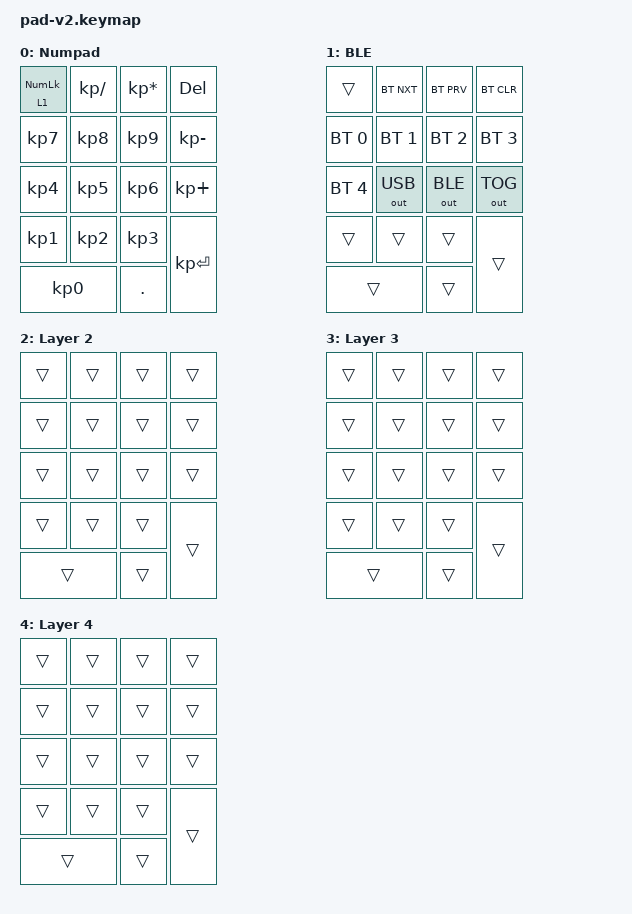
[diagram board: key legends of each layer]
#include <behaviors.dtsi>
#include <dt-bindings/zmk/keys.h>
#include <dt-bindings/zmk/bt.h>
#include <dt-bindings/zmk/outputs.h>

/ {
    /*
     * Custom hold-tap för NumLock -> BLE-layer.
     * "hold-preferred" gör att samtidigt tryck (NumLock + annan tangent)
     * direkt räknas som "hold" -> layer 1 aktiv, ingen tapping-term-väntan.
     * Snabbt nedtryck och släpp = vanligt Num Lock.
     */
    behaviors {
        ble_lt: ble_layer_tap {
            compatible = "zmk,behavior-hold-tap";
            #binding-cells = <2>;
            flavor = "hold-preferred";
            tapping-term-ms = <200>;
            quick-tap-ms = <0>;
            bindings = <&mo>, <&kp>;
        };
    };

    /*
     * Combos:
     *
     *   0 + .                  -> studio_unlock (öppna ZMK Studio)
     *   NumLock + 0 + Enter    -> bootloader   (tvinga DFU-läge utan RST-pinnar)
     *
     * Position-ordningen är visuell, 0-indexerad:
     *   0=NumLock 1=/   2=*  3=Del   4=7  5=8  6=9  7=-
     *   8=4 9=5 10=6 11=+   12=1 13=2 14=3 15=Enter   16=0 17=.
     */
    combos {
        compatible = "zmk,combos";

        combo_studio_unlock {
            timeout-ms = <75>;
            key-positions = <16 17>;
            bindings = <&studio_unlock>;
        };

        combo_bootloader {
            timeout-ms = <100>;
            key-positions = <0 15 16>;
            bindings = <&bootloader>;
        };
    };

    keymap {
        compatible = "zmk,keymap";

        default_layer {
            display-name = "Numpad";
            /*
             * NumLock är nu en HOLD-TAP:
             *   - tryck snabbt    -> Num Lock (som vanligt)
             *   - håll inne       -> aktiverar BLE-layern så länge du håller
             */
            bindings = <
                &ble_lt 1 KP_NUMLOCK  &kp KP_SLASH  &kp KP_MULTIPLY  &kp DEL
                &kp KP_N7         &kp KP_N8     &kp KP_N9        &kp KP_MINUS
                &kp KP_N4         &kp KP_N5     &kp KP_N6        &kp KP_PLUS
                &kp KP_N1         &kp KP_N2     &kp KP_N3        &kp KP_ENTER
                &kp KP_N0                       &kp DOT
            >;
        };

        /*
         * BLE-LAYER (håll NumLock för att komma hit):
         *
         *   NumLock(håll)  BT_NXT      BT_PRV      BT_CLR     <- nästa/förra profil, rensa nuvarande
         *   BT_SEL 0       BT_SEL 1    BT_SEL 2    BT_SEL 3   <- välj profil 0-3
         *   BT_SEL 4       OUT_USB     OUT_BLE     OUT_TOG    <- profil 4, output switch
         *   -              -           -           -
         *   -                          -
         *
         * Typiskt flöde:
         *   1. Håll NumLock + tryck BT_SEL 0  -> ansluter till profil 0 (eller advertise om tom)
         *   2. På datorn: para via Bluetooth-inställningar
         *   3. Byt dator: håll NumLock + BT_SEL 1
         *   4. Behöver para om: håll NumLock + BT_CLR (rensar nuvarande profil), sen para igen
         */
        layer_1 {
            display-name = "BLE";
            bindings = <
                &trans          &bt BT_NXT    &bt BT_PRV    &bt BT_CLR
                &bt BT_SEL 0    &bt BT_SEL 1  &bt BT_SEL 2  &bt BT_SEL 3
                &bt BT_SEL 4    &out OUT_USB  &out OUT_BLE  &out OUT_TOG
                &trans          &trans        &trans        &trans
                &trans                        &trans
            >;
        };

        layer_2 {
            display-name = "Layer 2";
            bindings = <
                &trans  &trans  &trans  &trans
                &trans  &trans  &trans  &trans
                &trans  &trans  &trans  &trans
                &trans  &trans  &trans  &trans
                &trans          &trans
            >;
        };

        layer_3 {
            display-name = "Layer 3";
            bindings = <
                &trans  &trans  &trans  &trans
                &trans  &trans  &trans  &trans
                &trans  &trans  &trans  &trans
                &trans  &trans  &trans  &trans
                &trans          &trans
            >;
        };

        layer_4 {
            display-name = "Layer 4";
            bindings = <
                &trans  &trans  &trans  &trans
                &trans  &trans  &trans  &trans
                &trans  &trans  &trans  &trans
                &trans  &trans  &trans  &trans
                &trans          &trans
            >;
        };
    };
};
